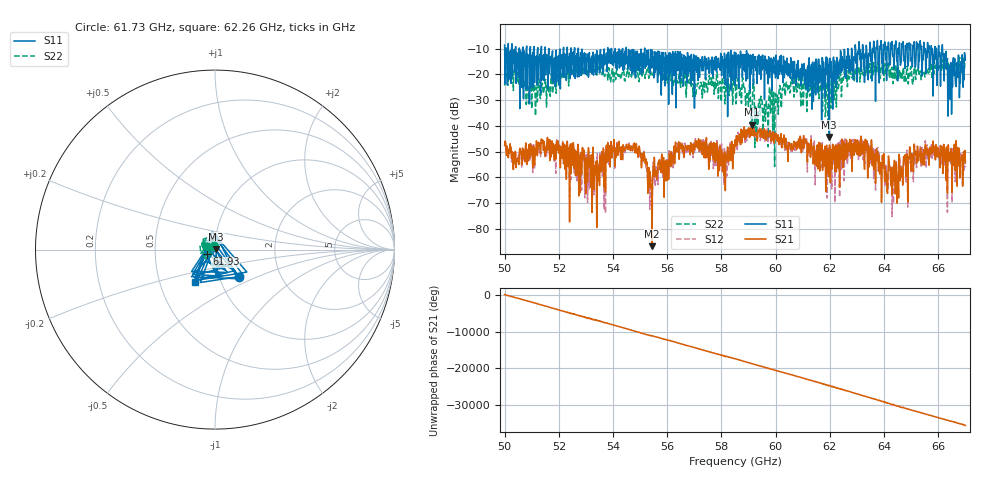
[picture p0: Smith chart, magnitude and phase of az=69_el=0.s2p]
!Created with skrf (http://scikit-rf.org).
# GHz S RI R 50.0
!freq ReS11 ImS11 ReS21 ImS21 ReS12 ImS12 ReS22 ImS22
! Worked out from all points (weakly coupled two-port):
!   1001 points, 50 GHz to 67 GHz, reference 50 ohm
!   highest |S21| = -39.60 dB at 59.13 GHz (marker M1); lowest = -86.8 dB at 55.44 GHz (marker M2)
!   lowest |S11| = -44.3 dB at 61.97 GHz (marker M3), VSWR 1.01, Z = 50.6 + j0.186 ohm
!   |S11| at or under -10 dB: 52.72 GHz to 53.81 GHz (1.086 GHz wide, 2.04 % of centre); 55.17 GHz to 62.66 GHz (7.496 GHz wide, 12.7 % of centre); 66.16 GHz to end of sweep (the widest 3 of 67)
!   |S22| runs from -55.8 to -13.4 dB; largest |S21 - S12| = 0.0022
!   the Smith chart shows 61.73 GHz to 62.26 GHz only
!   S11 on the Smith chart (normalised r, x): 61.73 GHz: 1.24, -0.39; 61.93 GHz: 0.91, -0.05; 62.26 GHz: 0.75, -0.29
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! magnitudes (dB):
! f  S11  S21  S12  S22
! 50 GHz  -8.6  -47.7  -47.2  -24.3
! 51.07 GHz  -10.6  -47.9  -47.3  -26.5
! 52.84 GHz  -12.9  -58.7  -65.0  -20.0
! 53.31 GHz  -14.1  -55.5  -57.3  -18.9
! 53.84 GHz  -14.5  -53.6  -55.0  -17.4
! 54.81 GHz  -11.8  -50.6  -49.6  -19.1
! 55.44 GHz  -10.5  -86.8  -60.9  -19.4
! 55.68 GHz  -13.6  -54.7  -53.6  -21.1
! 56.44 GHz  -12.7  -53.0  -51.8  -19.5
! 58.5 GHz  -24.5  -45.5  -45.3  -23.9
! 59.13 GHz  -17.5  -39.6  -40.2  -41.4
! 59.32 GHz  -23.6  -46.0  -44.0  -34.8
! 61.34 GHz  -33.5  -49.3  -51.4  -27.2
! 61.73 GHz  -13.9  -57.3  -56.2  -34.6
! 61.93 GHz  -25.3  -49.2  -48.2  -38.3
! 61.97 GHz  -44.3  -59.7  -54.7  -22.7
! 62.26 GHz  -13.5  -50.9  -48.9  -25.2
! 63.4 GHz  -13.0  -60.3  -56.7  -18.3
! 64.18 GHz  -11.9  -53.2  -55.0  -17.4
! 66.08 GHz  -24.6  -47.8  -47.6  -16.0
! 66.44 GHz  -29.7  -50.5  -51.1  -16.3
! 67 GHz  -14.3  -54.4  -56.1  -14.5
